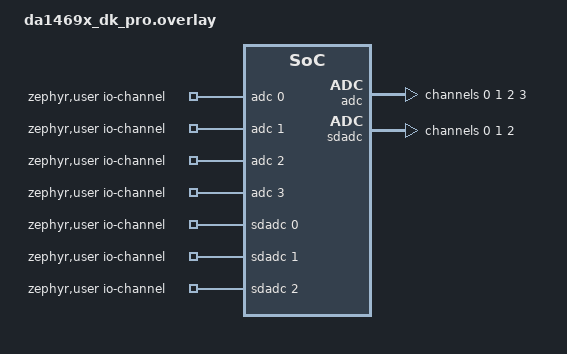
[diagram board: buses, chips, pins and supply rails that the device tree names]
/*
 * Copyright (c) 2023 Renesas Electronics Corporation
 *
 * SPDX-License-Identifier: Apache-2.0
 */

#include <zephyr/dt-bindings/adc/adc.h>

/ {
	zephyr,user {
		/* adjust channel number according to pinmux in board.dts */
		io-channels = <&adc 0 &adc 1 &adc 2 &adc 3 &sdadc 0 &sdadc 1 &sdadc 2>;
	};
};

&pinctrl {
	adc_default: adc_default {
		group_1 {
			pinmux = <SMARTBOND_PINMUX(ADC, 0, 25)>,
				 <SMARTBOND_PINMUX(ADC, 1, 9)>,
				 <SMARTBOND_PINMUX(ADC, 1, 19)>;
		};
	};
	sdadc_default: sdadc_default {
		group_1 {
			pinmux = <SMARTBOND_PINMUX(ADC, 1, 14)>,
				 <SMARTBOND_PINMUX(ADC, 1, 20)>,
				 <SMARTBOND_PINMUX(ADC, 1, 21)>;
		};
	};
};

&adc {
	#address-cells = <1>;
	#size-cells = <0>;
	status = "okay";

	channel@0 {
		reg = <0>;
		zephyr,gain = "ADC_GAIN_1_3";
		zephyr,reference = "ADC_REF_INTERNAL";
		zephyr,acquisition-time = <ADC_ACQ_TIME_DEFAULT>;
		zephyr,resolution = <12>;
		zephyr,oversampling = <7>;
		zephyr,input-positive = <SMARTBOND_GPADC_P1_09>;
	};
	channel@1 {
		reg = <1>;
		zephyr,gain = "ADC_GAIN_1_3";
		zephyr,reference = "ADC_REF_INTERNAL";
		zephyr,acquisition-time = <ADC_ACQ_TIME_DEFAULT>;
		zephyr,resolution = <12>;
		zephyr,oversampling = <0>;
		zephyr,input-positive = <SMARTBOND_GPADC_V30>;
	};
	channel@2 {
		reg = <2>;
		zephyr,gain = "ADC_GAIN_1_3";
		zephyr,reference = "ADC_REF_INTERNAL";
		zephyr,acquisition-time = <ADC_ACQ_TIME_DEFAULT>;
		zephyr,resolution = <12>;
		zephyr,oversampling = <0>;
		zephyr,input-positive = <SMARTBOND_GPADC_P0_25>;
	};
	channel@3 {
		reg = <3>;
		zephyr,gain = "ADC_GAIN_1_3";
		zephyr,reference = "ADC_REF_INTERNAL";
		zephyr,acquisition-time = <ADC_ACQ_TIME_DEFAULT>;
		zephyr,resolution = <12>;
		zephyr,oversampling = <0>;
		zephyr,input-positive = <SMARTBOND_GPADC_P1_19>;
	};
	pinctrl-0 = <&adc_default>;
	pinctrl-names = "default";
};

&sdadc {
	#address-cells = <1>;
	#size-cells = <0>;
	status = "okay";

	channel@0 {
		reg = <0>;
		zephyr,gain = "ADC_GAIN_1";
		zephyr,reference = "ADC_REF_INTERNAL";
		zephyr,acquisition-time = <ADC_ACQ_TIME_DEFAULT>;
		zephyr,resolution = <14>;
		zephyr,oversampling = <7>;
		zephyr,input-positive = <SMARTBOND_SDADC_P1_14>;
	};
	channel@1 {
		reg = <1>;
		zephyr,gain = "ADC_GAIN_1";
		zephyr,reference = "ADC_REF_INTERNAL";
		zephyr,acquisition-time = <ADC_ACQ_TIME_DEFAULT>;
		zephyr,resolution = <14>;
		zephyr,oversampling = <7>;
		zephyr,input-positive = <SMARTBOND_SDADC_P1_20>;
		zephyr,input-negative = <SMARTBOND_SDADC_P1_21>;
	};
	channel@2 {
		reg = <2>;
		zephyr,gain = "ADC_GAIN_1_4";
		zephyr,reference = "ADC_REF_INTERNAL";
		zephyr,acquisition-time = <ADC_ACQ_TIME_DEFAULT>;
		zephyr,resolution = <14>;
		zephyr,oversampling = <7>;
		zephyr,input-positive = <SMARTBOND_SDADC_VBAT>;
	};
	pinctrl-0 = <&sdadc_default>;
	pinctrl-names = "default";
};
